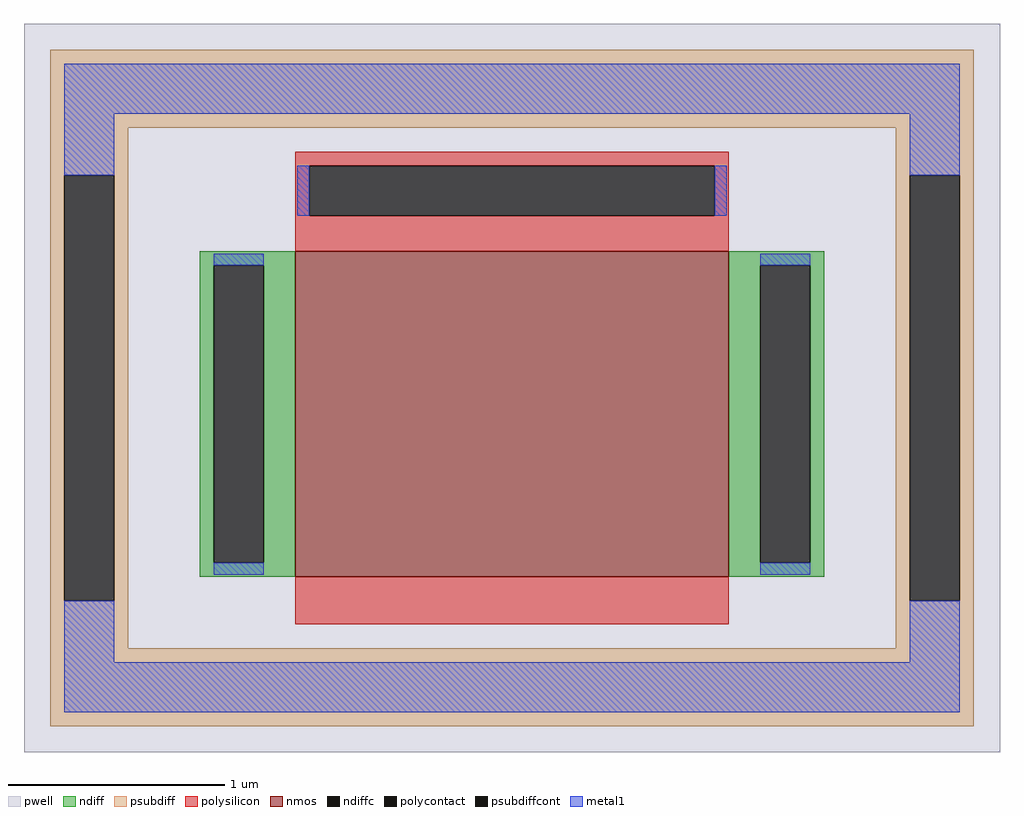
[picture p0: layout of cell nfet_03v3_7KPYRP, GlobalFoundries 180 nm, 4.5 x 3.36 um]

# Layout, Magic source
magic
tech gf180mcuD
magscale 1 10
<< pwell >>
rect -450 -336 450 336
<< nmos >>
rect -200 -174 200 126
<< ndiff >>
rect -288 113 -200 126
rect -288 -161 -275 113
rect -229 -161 -200 113
rect -288 -174 -200 -161
rect 200 113 288 126
rect 200 -161 229 113
rect 275 -161 288 113
rect 200 -174 288 -161
<< ndiffc >>
rect -275 -161 -229 113
rect 229 -161 275 113
<< psubdiff >>
rect -426 240 426 312
rect -426 196 -354 240
rect -426 -196 -413 196
rect -367 -196 -354 196
rect 354 196 426 240
rect -426 -240 -354 -196
rect 354 -196 367 196
rect 413 -196 426 196
rect 354 -240 426 -196
rect -426 -312 426 -240
<< psubdiffcont >>
rect -413 -196 -367 196
rect 367 -196 413 196
<< polysilicon >>
rect -200 205 200 218
rect -200 159 -187 205
rect 187 159 200 205
rect -200 126 200 159
rect -200 -218 200 -174
<< polycontact >>
rect -187 159 187 205
<< metal1 >>
rect -413 253 413 299
rect -413 196 -367 253
rect -198 159 -187 205
rect 187 159 198 205
rect 367 196 413 253
rect -275 113 -229 124
rect -275 -172 -229 -161
rect 229 113 275 124
rect 229 -172 275 -161
rect -413 -253 -367 -196
rect 367 -253 413 -196
rect -413 -299 413 -253
<< properties >>
string FIXED_BBOX -390 -276 390 276
string gencell nfet_03v3
string library gf180mcu
string parameters w 1.5 l 2.0 m 1 nf 1 diffcov 100 polycov 100 guard 1 glc 1 grc 1 gtc 0 gbc 0 tbcov 100 rlcov 100 topc 1 botc 0 poverlap 0 doverlap 1 lmin 0.28 wmin 0.22 class mosfet full_metal 1 compatible {nfet_03v3 nfet_06v0 nfet_06v0_nvt}
<< end >>
